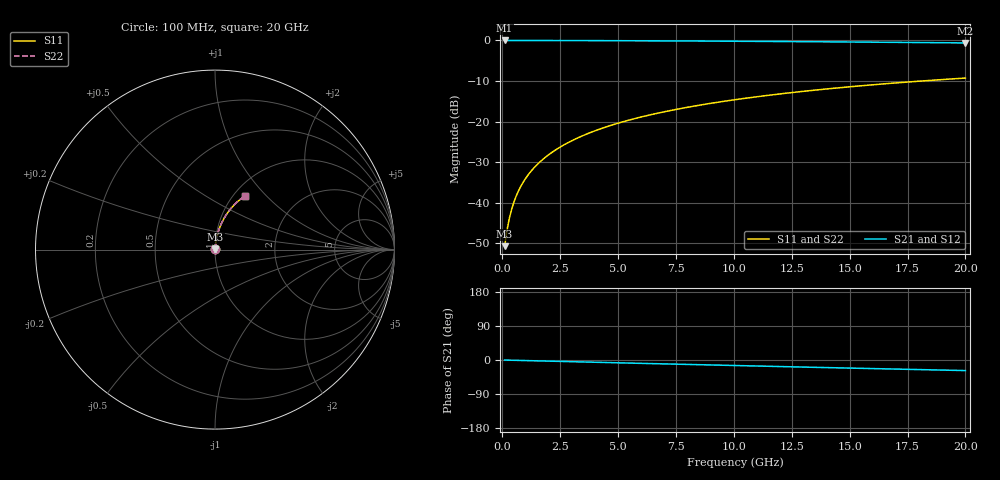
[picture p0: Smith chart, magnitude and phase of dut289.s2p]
! Touchstone file exported from HFSS 2026.1.0
!  File:  C:/ffzhzh/LocalFiles/Ansys_Project_Files/temp_train_BSMRDL_289_1782989254_41620.aedt
!  Generated:  06:48:46 PM Jul  2, 2026
!  Design:  BSMRDL
!  Project:  temp_train_BSMRDL_289_1782989254_41620
! Variables:
!  h_bsmrdl = 5.18um
!  h_ox = 20um
!  h_rdl = 5um
!  h_sub = 80um
!  h_tmrdl = 5um
!  h_tsv = 80um
!  h_via = 3um
!  l_bsmrdl = 322.3um
!  l_sub = 722.3um
!  l_tmrdl = 200um
!  m_sub = 200um
!  pitch = 50.75um
!  r_tsv = 6um
!  s_tmrdl = 10um
!  w_bsmrdl = 10.61um
!  w_sub = 500um
!  w_tmrdl = 12um
!  x_tsv_center1 = 206um
!  x_tsv_center2 = 538.91um
!  x_tsv_center3 = 750.91um
!  x_tsv_center4 = 1083.82um
!  x_tsv_center5 = 1295.82um
!  x_tsv_center6 = 1628.73um
# GHz S MA R 50.000000
! Terminal data exported
! Port[1] = BSM_RDL1_1_T1
! Port[2] = BSM_RDL1_1_T2
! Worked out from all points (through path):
!   200 points, 100 MHz to 20 GHz, reference 50 ohm
!   highest |S21| = -0.02 dB at 100 MHz (marker M1); lowest = -0.6 dB at 20 GHz (marker M2)
!   group delay of S21, straight-line fit = 3.88 ps
!   lowest |S11| = -50.7 dB at 100 MHz (marker M3), VSWR 1.01, Z = 50.2 + j0.2 ohm
!   |S11| at or under -10 dB: start of sweep to 18.11 GHz
!   |S22| runs from -50.7 to -9.3 dB; largest |S21 - S12| = 2.6e-15
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0.1  0.00293 42.8  0.9979 -0.2  0.9979 -0.2  0.00293 42.8
! Gamma 0 0 0 0
! Port Impedance 50 0 50 0
0.2  0.004537 61.3  0.9978 -0.3  0.9978 -0.3  0.004537 61.3
0.3  0.006364 69.6  0.9978 -0.5  0.9978 -0.5  0.006364 69.6
0.4  0.008262 73.9  0.9977 -0.6  0.9977 -0.6  0.008262 74.0
0.5  0.01019 76.6  0.9977 -0.8  0.9977 -0.8  0.01019 76.6
0.6  0.01212 78.3  0.9976 -0.9  0.9976 -0.9  0.01212 78.3
0.8  0.01599 80.4  0.9975 -1.2  0.9975 -1.2  0.01599 80.4
1.1  0.02178 81.9  0.9973 -1.7  0.9973 -1.7  0.02178 81.9
1.5  0.02948 82.7  0.997 -2.3  0.997 -2.3  0.02948 82.7
1.8  0.03524 82.9  0.9967 -2.7  0.9967 -2.7  0.03524 82.9
2.1  0.04098 82.9  0.9964 -3.1  0.9964 -3.1  0.04098 82.9
2.7  0.05244 82.6  0.9956 -4.0  0.9956 -4.0  0.05244 82.6
3.5  0.06761 81.9  0.9944 -5.2  0.9944 -5.2  0.06761 81.9
4.2  0.08078 81.1  0.993 -6.3  0.993 -6.3  0.08078 81.1
5  0.09569 80.1  0.9913 -7.4  0.9913 -7.4  0.09569 80.1
5.9  0.1123 79.0  0.9891 -8.7  0.9891 -8.7  0.1123 79.0
6.8  0.1287 77.8  0.9867 -10.0  0.9867 -10.0  0.1287 77.8
8.3  0.1555 75.8  0.9823 -12.2  0.9823 -12.2  0.1555 75.8
10.1  0.187 73.4  0.9762 -14.7  0.9762 -14.7  0.187 73.4
13.4  0.2426 69.1  0.963 -19.2  0.963 -19.2  0.2426 69.1
16.7  0.2949 64.8  0.9477 -23.6  0.9477 -23.6  0.2949 64.8
20  0.3438 60.7  0.9307 -27.9  0.9307 -27.9  0.3438 60.7
